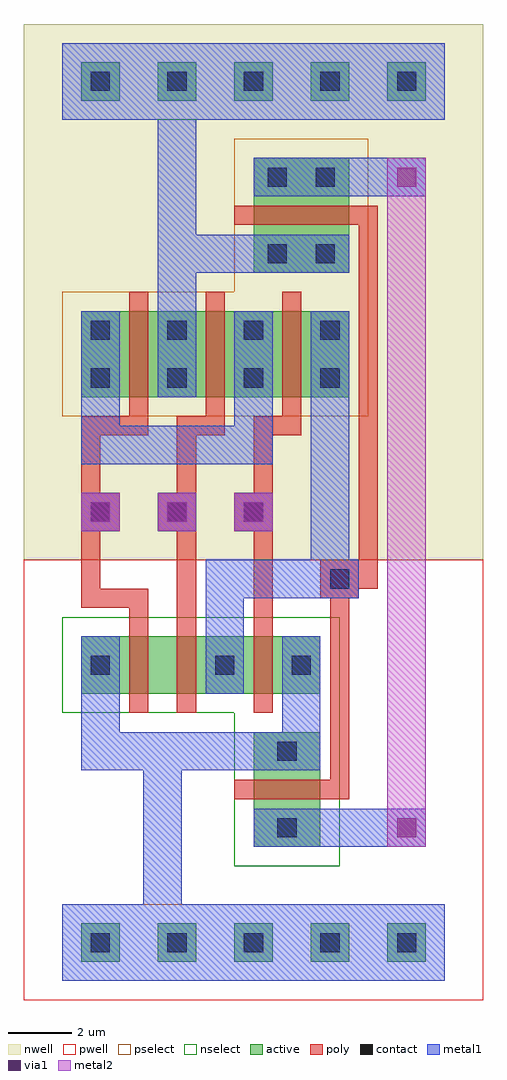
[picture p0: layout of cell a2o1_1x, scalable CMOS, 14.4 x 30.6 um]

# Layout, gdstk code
import gdstk
lib = gdstk.Library(unit=1e-6, precision=1e-09)
def R(c, l, rs):  # rectangles x0, y0, x1, y1
    for r in rs: c.add(gdstk.rectangle(r[:2], r[2:], *l))
def A(c, l, x, y, w, h, nx, ny, dx, dy):  # array of equal rectangles
    R(c, l, [(x+i*dx, y+j*dy, x+i*dx+w, y+j*dy+h) for i in range(nx) for j in range(ny)])
contact = (25, 0)
pwell = (41, 0)
nwell = (42, 0)
active = (43, 0)
pselect = (44, 0)
nselect = (45, 0)
poly = (46, 0)
metal1 = (49, 0)
via1 = (50, 0)
metal2 = (51, 0)

a2o1_1x = lib.new_cell('a2o1_1x')
A(a2o1_1x, contact, 0.3, -0.3, 0.6, 0.6, 5, 2, 2.4, 27)
A(a2o1_1x, contact, 0.3, 13.2, 0.6, 0.6, 3, 1, 2.4, 0)
A(a2o1_1x, contact, 0.3, 17.4, 0.6, 0.6, 4, 2, 2.4, 1.5)
R(a2o1_1x, contact, [(6.15,3.3,6.75,3.9), (6.15,5.7,6.75,6.3), (0.3,8.4,0.9,9), (4.2,8.4,4.8,9), (6.6,8.4,7.2,9), (7.8,11.1,8.4,11.7), (5.85,21.3,6.45,21.9), (7.35,21.3,7.95,21.9), (5.85,23.7,6.45,24.3), (7.35,23.7,7.95,24.3)])
A(a2o1_1x, pwell, -0.9, -1.5, 3, 3, 5, 1, 2.4, 0)
R(a2o1_1x, pwell, [(-1.8,-1.8,12.6,12), (3.6,1.2,9.3,6), (3.6,1.35,8.1,5.925), (3.6,1.8,9.3,7.8), (3.6,3.6,9.3,8.4), (3.6,3.675,8.1,8.25), (-1.8,6,3,11.4), (-1.2,6,4.8,11.4), (0.3,6,6.3,11.4), (2.1,6,6.9,11.4), (2.7,6,8.7,11.4), (4.5,6,9.3,11.4), (-1.65,6.9,2.925,11.4), (-0.075,6.9,5.175,11.4), (2.175,6.9,6.75,11.4), (2.25,6.9,6.825,11.4), (4.575,6.9,9.15,11.4)])
A(a2o1_1x, nwell, -1.8, 15.3, 4.8, 6.3, 4, 1, 2.4, 0)
A(a2o1_1x, nwell, -1.2, 15.3, 6, 6.3, 3, 1, 2.4, 0)
A(a2o1_1x, nwell, -0.9, 25.5, 3, 3, 5, 1, 2.4, 0)
R(a2o1_1x, nwell, [(-1.8,12,12.6,28.8), (-1.65,15.75,2.925,20.25), (0.675,15.75,5.25,20.25), (0.75,15.75,5.325,20.25), (3.075,15.75,7.65,20.25), (3.15,15.75,7.725,20.25), (5.475,15.75,10.05,20.25), (3.6,19.2,10.2,24), (4.8,19.35,9.3,23.925), (3.6,19.8,10.2,25.8), (3.6,21.6,10.2,26.4), (3.6,21.675,8.1,26.25)])
A(a2o1_1x, active, 0, -0.6, 1.2, 1.2, 5, 2, 2.4, 27)
A(a2o1_1x, active, 0, 17.1, 1.2, 2.7, 4, 1, 2.4, 0)
A(a2o1_1x, active, 0.6, 17.1, 2.4, 2.7, 3, 1, 2.4, 0)
R(a2o1_1x, active, [(5.4,3,7.5,4.2), (5.4,3.15,6.3,4.125), (5.4,3.6,7.5,6), (5.4,5.4,7.5,6.6), (5.4,5.475,6.3,6.45), (0,7.8,1.2,9.6), (0.6,7.8,3,9.6), (2.1,7.8,4.5,9.6), (3.9,7.8,5.1,9.6), (4.5,7.8,6.9,9.6), (6.3,7.8,7.5,9.6), (0.15,8.7,1.125,9.6), (1.725,8.7,3.375,9.6), (3.975,8.7,4.95,9.6), (4.05,8.7,5.025,9.6), (6.375,8.7,7.35,9.6), (0.15,17.55,1.125,18.45), (2.475,17.55,3.45,18.45), (2.55,17.55,3.525,18.45), (4.875,17.55,5.85,18.45), (4.95,17.55,5.925,18.45), (7.275,17.55,8.25,18.45), (5.4,21,8.4,22.2), (6.6,21.15,7.5,22.125), (5.4,21.6,8.4,24), (5.4,23.4,8.4,24.6), (5.4,23.475,6.3,24.45)])
A(a2o1_1x, pselect, -0.6, -1.2, 2.4, 2.4, 5, 1, 2.4, 0)
A(a2o1_1x, pselect, -0.6, 16.5, 2.4, 3.9, 4, 1, 2.4, 0)
A(a2o1_1x, pselect, 0, 16.5, 3.6, 3.9, 3, 1, 2.4, 0)
R(a2o1_1x, pselect, [(-0.45,16.95,1.725,19.05), (1.875,16.95,4.05,19.05), (1.95,16.95,4.125,19.05), (4.275,16.95,6.45,19.05), (4.35,16.95,6.525,19.05), (6.675,16.95,8.85,19.05), (4.8,20.4,9,22.8), (6,20.55,8.1,22.725), (4.8,21,9,24.6), (4.8,22.8,9,25.2), (4.8,22.875,6.9,25.05)])
A(a2o1_1x, nselect, -0.6, 25.8, 2.4, 2.4, 5, 1, 2.4, 0)
R(a2o1_1x, nselect, [(4.8,2.4,8.1,4.8), (4.8,2.55,6.9,4.725), (4.8,3,8.1,6.6), (4.8,4.8,8.1,7.2), (4.8,4.875,6.9,7.05), (-0.6,7.2,1.8,10.2), (0,7.2,3.6,10.2), (1.5,7.2,5.1,10.2), (3.3,7.2,5.7,10.2), (3.9,7.2,7.5,10.2), (5.7,7.2,8.1,10.2), (-0.45,8.1,1.725,10.2), (1.125,8.1,3.975,10.2), (3.375,8.1,5.55,10.2), (3.45,8.1,5.625,10.2), (5.775,8.1,7.95,10.2)])
A(a2o1_1x, poly, 0, 12.9, 1.2, 1.2, 3, 1, 2.4, 0)
A(a2o1_1x, poly, 1.5, 15.9, 0.6, 0.9, 3, 1, 2.4, 0)
A(a2o1_1x, poly, 1.5, 16.5, 0.6, 3.9, 3, 1, 2.4, 0)
R(a2o1_1x, poly, [(4.8,4.5,8.1,5.1), (7.8,4.5,8.4,11.7), (1.5,7.2,2.1,10.2), (3,7.2,3.6,10.2), (5.4,7.2,6,10.2), (1.5,9.9,2.1,11.1), (3,9.9,3.6,13.8), (5.4,9.9,6,13.8), (0,10.5,2.1,11.1), (0,10.5,0.9,11.1), (0,10.5,0.6,13.8), (7.5,10.8,8.7,12), (7.65,11.1,9.3,11.7), (7.65,11.1,8.4,11.7), (8.7,11.1,9.3,23.1), (0,13.2,0.9,13.8), (0,13.2,0.6,16.5), (2.7,13.2,3.6,13.8), (3,13.2,3.6,16.5), (5.1,13.2,6,13.8), (5.4,13.2,6,16.5), (0,15.9,2.1,16.5), (3,15.9,4.5,16.5), (5.4,15.9,6.9,16.5), (4.8,22.5,9,23.1)])
A(a2o1_1x, metal1, -0.6, -1.2, 4.8, 2.4, 4, 2, 2.4, 27)
A(a2o1_1x, metal1, 0, -0.6, 1.2, 1.2, 5, 1, 2.4, 0)
A(a2o1_1x, metal1, 0, 17.1, 1.2, 2.7, 4, 1, 2.4, 0)
A(a2o1_1x, metal1, 0, 26.4, 1.2, 1.2, 4, 1, 2.4, 0)
R(a2o1_1x, metal1, [(-0.6,-1.2,3.75,1.2), (1.35,-1.2,4.2,1.2), (5.7,-1.2,9,1.2), (9,-1.2,11.4,1.2), (1.95,-0.6,3.15,6.6), (0.15,-0.45,1.05,0.45), (7.35,-0.45,8.25,0.45), (5.4,3,7.5,4.2), (6.3,3,10.8,4.2), (9.6,3,10.8,4.2), (0,5.4,1.2,9), (0,5.4,3.15,6.6), (1.95,5.4,6.6,6.6), (5.4,5.4,7.5,6.6), (6.3,5.4,7.5,9), (0,7.8,1.2,9.6), (3.9,7.8,5.1,9.6), (6.3,7.8,7.5,9.6), (3.9,8.55,5.1,12), (3.9,10.8,8.4,12), (7.2,10.8,8.4,19.8), (7.2,10.8,8.55,12), (7.5,10.8,8.7,12), (0,12.9,1.2,14.1), (0,12.9,1.2,14.1), (0,12.9,1.2,14.1), (0,12.9,1.2,14.1), (2.4,12.9,3.6,14.1), (2.4,12.9,3.6,14.1), (4.8,12.9,6,14.1), (4.8,12.9,6,14.1), (4.8,12.9,6,14.1), (2.55,13.05,3.45,13.95), (0,15,1.2,18.66), (0,15,6,16.2), (4.8,15,6,18.66), (2.4,18.6,3.6,22.2), (2.4,21,3.6,27.6), (2.4,21,6.6,22.2), (5.4,21,8.4,22.2), (5.4,23.4,8.4,24.6), (7.2,23.4,10.8,24.6), (9.6,23.4,10.8,24.6), (-0.6,25.8,1.8,28.2), (-0.6,25.8,4.2,28.2), (1.8,25.8,9,28.2), (0,26.4,1.2,27.6), (7.2,26.4,8.4,27.6), (9.6,26.4,10.8,27.6), (0.15,26.55,1.05,27.45)])
A(a2o1_1x, via1, 0.3, 13.2, 0.6, 0.6, 3, 1, 2.4, 0)
R(a2o1_1x, via1, [(9.9,3.3,10.5,3.9), (9.9,23.7,10.5,24.3)])
A(a2o1_1x, metal2, 0, 12.9, 1.2, 1.2, 3, 1, 2.4, 0)
R(a2o1_1x, metal2, [(9.6,3,10.8,4.2), (9.6,3.3,10.8,15), (9.6,13.8,10.8,24.6), (9.6,23.4,10.8,24.6)])

lib.write_gds('a2o1_1x.gds')
